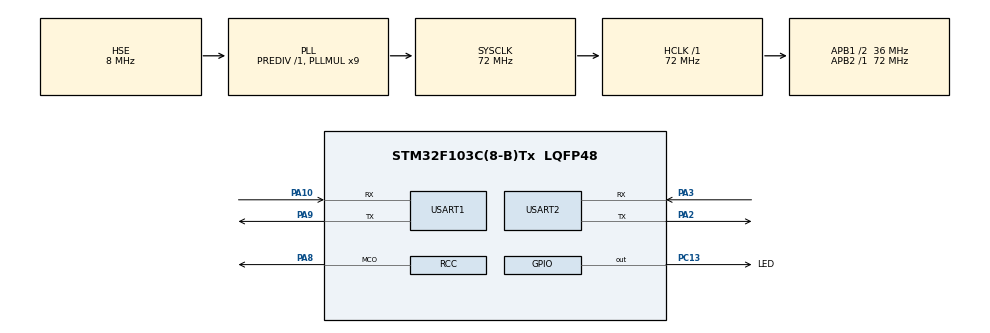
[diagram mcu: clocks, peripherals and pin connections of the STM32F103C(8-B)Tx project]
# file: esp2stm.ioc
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FREERTOS.Tasks01=defaultTask,24,128,StartDefaultTask,Default,NULL,Dynamic,NULL,NULL
FREERTOS.Timers01=myTimer01,Callback01,osTimerPeriodic,Default,NULL,Dynamic,NULL
FREERTOS.configTIMER_TASK_PRIORITY=24
FREERTOS.configUSE_NEWLIB_REENTRANT=1
Mcu.Family=STM32F1
Mcu.Name=STM32F103C(8-B)Tx
Mcu.Package=LQFP48
NVIC.PriorityGroup=NVIC_PRIORITYGROUP_4
NVIC.TIM1_UP_IRQn=true\:15\:0\:false\:false\:true\:false\:false\:true\:true
NVIC.TimeBase=TIM1_UP_IRQn
NVIC.TimeBaseIP=TIM1
NVIC.USART1_IRQn=true\:5\:0\:false\:false\:true\:true\:true\:true\:true
NVIC.USART2_IRQn=true\:5\:0\:false\:false\:true\:true\:true\:true\:true
PA10.Mode=Asynchronous
PA10.Signal=USART1_RX
PA13.Mode=Serial_Wire
PA13.Signal=SYS_JTMS-SWDIO
PA14.Mode=Serial_Wire
PA14.Signal=SYS_JTCK-SWCLK
PA2.Mode=Asynchronous
PA2.Signal=USART2_TX
PA3.Mode=Asynchronous
PA3.Signal=USART2_RX
PA8.Mode=Clock-out
PA8.Signal=RCC_MCO
PA9.Mode=Asynchronous
PA9.Signal=USART1_TX
PC13-TAMPER-RTC.GPIO_Label=LED
PC13-TAMPER-RTC.Signal=GPIO_Output
PC14-OSC32_IN.Mode=LSE-External-Oscillator
PC14-OSC32_IN.Signal=RCC_OSC32_IN
PC15-OSC32_OUT.Mode=LSE-External-Oscillator
PC15-OSC32_OUT.Signal=RCC_OSC32_OUT
PD0-OSC_IN.Mode=HSE-External-Oscillator
PD0-OSC_IN.Signal=RCC_OSC_IN
PD1-OSC_OUT.Mode=HSE-External-Oscillator
PD1-OSC_OUT.Signal=RCC_OSC_OUT
ProjectManager.HeapSize=0x200
ProjectManager.StackSize=0x400
ProjectManager.TargetToolchain=STM32CubeIDE
RCC.AHBFreq_Value=72000000
RCC.APB1CLKDivider=RCC_HCLK_DIV2
RCC.APB1Freq_Value=36000000
RCC.APB1TimFreq_Value=72000000
RCC.APB2Freq_Value=72000000
RCC.APB2TimFreq_Value=72000000
RCC.HCLKFreq_Value=72000000
RCC.PLLMUL=RCC_PLL_MUL9
RCC.PLLSourceVirtual=RCC_PLLSOURCE_HSE
RCC.RCC_MCOSource=RCC_MCO1SOURCE_PLLCLK
RCC.SYSCLKFreq_VALUE=72000000
RCC.SYSCLKSource=RCC_SYSCLKSOURCE_PLLCLK
RCC.USBFreq_Value=72000000
USART1.VirtualMode=VM_ASYNC
USART2.VirtualMode=VM_ASYNC
VP_FREERTOS_VS_CMSIS_V2.Mode=CMSIS_V2
VP_SYS_VS_tim1.Mode=TIM1
board=custom

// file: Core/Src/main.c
/* USER CODE BEGIN Header */
/**
  ******************************************************************************
  * @file           : main.c
  * @brief          : Main program body
  ******************************************************************************
  * @attention
  *
  * Copyright (c) 2023 STMicroelectronics.
  * All rights reserved.
  *
  * This software is licensed under terms that can be found in the LICENSE file
  * in the root directory of this software component.
  * If no LICENSE file comes with this software, it is provided AS-IS.
  *
  ******************************************************************************
  */
/* USER CODE END Header */
#include "main.h"
#include "cmsis_os.h"
#include "usart.h"
#include "gpio.h"

/* USER CODE BEGIN Includes */
#include <string.h>
#include <stdio.h>
#include <stdlib.h>
#include "retarget.h"
/* USER CODE END Includes */

/* USER CODE BEGIN PV */
unsigned char UART2_Rx_Buf[MAX_REC_LENGTH];
unsigned char UART2_Rx_flg ;
unsigned int  UART2_Rx_cnt ;
unsigned char UART2_temp[REC_LENGTH];
/* USER CODE END PV */

void SystemClock_Config(void);
void MX_FREERTOS_Init(void);

int main(void)
{

  /* MCU Configuration--------------------------------------------------------*/

  /* Reset of all peripherals, Initializes the Flash interface and the Systick. */
  HAL_Init();

  /* Configure the system clock */
  SystemClock_Config();

  /* Initialize all configured peripherals */
  MX_GPIO_Init();
  MX_USART1_UART_Init();
  MX_USART2_UART_Init();
  /* USER CODE BEGIN 2 */
  RetargetInit(&huart1);
  HAL_UART_Receive_IT(&huart2, (uint8_t *)UART2_temp, REC_LENGTH);//open the uart1 interrupt
   HAL_Delay(2000);
  /* USER CODE END 2 */

  /* Init scheduler */
  osKernelInitialize();  /* Call init function for freertos objects (in freertos.c) */
  MX_FREERTOS_Init();

  /* Start scheduler */
  osKernelStart();
  /* We should never get here as control is now taken by the scheduler */
  /* Infinite loop */
  while (1)
  {
  }

}

void SystemClock_Config(void)
{
  RCC_OscInitTypeDef RCC_OscInitStruct = {0};
  RCC_ClkInitTypeDef RCC_ClkInitStruct = {0};

  /** Initializes the RCC Oscillators according to the specified parameters
  * in the RCC_OscInitTypeDef structure.
  */
  RCC_OscInitStruct.OscillatorType = RCC_OSCILLATORTYPE_HSE;
  RCC_OscInitStruct.HSEState = RCC_HSE_ON;
  RCC_OscInitStruct.HSEPredivValue = RCC_HSE_PREDIV_DIV1;
  RCC_OscInitStruct.HSIState = RCC_HSI_ON;
  RCC_OscInitStruct.PLL.PLLState = RCC_PLL_ON;
  RCC_OscInitStruct.PLL.PLLSource = RCC_PLLSOURCE_HSE;
  RCC_OscInitStruct.PLL.PLLMUL = RCC_PLL_MUL9;
  if (HAL_RCC_OscConfig(&RCC_OscInitStruct) != HAL_OK)
  {
    Error_Handler();
  }

  /** Initializes the CPU, AHB and APB buses clocks
  */
  RCC_ClkInitStruct.ClockType = RCC_CLOCKTYPE_HCLK|RCC_CLOCKTYPE_SYSCLK
                              |RCC_CLOCKTYPE_PCLK1|RCC_CLOCKTYPE_PCLK2;
  RCC_ClkInitStruct.SYSCLKSource = RCC_SYSCLKSOURCE_PLLCLK;
  RCC_ClkInitStruct.AHBCLKDivider = RCC_SYSCLK_DIV1;
  RCC_ClkInitStruct.APB1CLKDivider = RCC_HCLK_DIV2;
  RCC_ClkInitStruct.APB2CLKDivider = RCC_HCLK_DIV1;

  if (HAL_RCC_ClockConfig(&RCC_ClkInitStruct, FLASH_LATENCY_2) != HAL_OK)
  {
    Error_Handler();
  }
  HAL_RCC_MCOConfig(RCC_MCO, RCC_MCO1SOURCE_PLLCLK, RCC_MCODIV_1);
}

/* USER CODE BEGIN 4 */
void HAL_UART_RxCpltCallback(UART_HandleTypeDef *huart)
{
	if(huart == &huart2 && UART2_Rx_flg == 0){
		UART2_Rx_Buf[UART2_Rx_cnt] = UART2_temp[0];
		UART2_Rx_cnt++;
		if('\n' == UART2_temp[0]){
			UART2_Rx_Buf[UART2_Rx_cnt-1] = '\0';
			printf("%s is received \r\n",UART2_Rx_Buf);
			UART2_Rx_flg = 1;
		}
		HAL_UART_Receive_IT(&huart2, (uint8_t *)UART2_temp, REC_LENGTH);
	}
}
/* USER CODE END 4 */

void HAL_TIM_PeriodElapsedCallback(TIM_HandleTypeDef *htim)
{
  if (htim->Instance == TIM1) {
    HAL_IncTick();
  }
}

void Error_Handler(void)
{
  __disable_irq();
  while (1)
  {
  }
}

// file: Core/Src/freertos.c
/* USER CODE BEGIN Header */
/**
  ******************************************************************************
  * File Name          : freertos.c
  * Description        : Code for freertos applications
  ******************************************************************************
  * @attention
  *
  * Copyright (c) 2023 STMicroelectronics.
  * All rights reserved.
  *
  * This software is licensed under terms that can be found in the LICENSE file
  * in the root directory of this software component.
  * If no LICENSE file comes with this software, it is provided AS-IS.
  *
  ******************************************************************************
  */
/* USER CODE END Header */

#include "FreeRTOS.h"
#include "task.h"
#include "main.h"
#include "cmsis_os.h"

/* USER CODE BEGIN Includes */
#include <stdio.h>
#include "retarget.h"
#include <string.h>
#include "timers.h"
/* USER CODE END Includes */

/* USER CODE BEGIN Variables */
  const char* Serial_ESP =  "Serial_ESP";
  const uint16_t Serial_usStackDepth = 128;
  const UBaseType_t Serial_uxPriority = osPriorityNormal1;

  extern unsigned char UART2_Rx_flg;
  extern unsigned char UART2_Rx_Buf[MAX_REC_LENGTH];
  extern unsigned int  UART2_Rx_cnt;

/* USER CODE END Variables */
/* Definitions for defaultTask */
osThreadId_t defaultTaskHandle;
const osThreadAttr_t defaultTask_attributes = {
  .name = "defaultTask",
  .stack_size = 128,
  .priority = (osPriority_t) osPriorityNormal,
};
/* Definitions for myTimer01 */
osTimerId_t myTimer01Handle;
const osTimerAttr_t myTimer01_attributes = {
  .name = "myTimer01"
};

/* USER CODE BEGIN FunctionPrototypes */
void StartSerialWithESP(void* argument);// 和ESP进行串口通信
void StartTxWithESP(void* argument);
void vTestTimerCallback( TimerHandle_t xTimer );

/* USER CODE END FunctionPrototypes */

void StartDefaultTask(void *argument);
void Callback01(void *argument);

void MX_FREERTOS_Init(void); /* (MISRA C 2004 rule 8.1) */

void MX_FREERTOS_Init(void) {

  /* Create the timer(s) */
  /* creation of myTimer01 */
  myTimer01Handle = osTimerNew(Callback01, osTimerPeriodic, NULL, &myTimer01_attributes);

  /* Create the thread(s) */
  /* creation of defaultTask */
  defaultTaskHandle = osThreadNew(StartDefaultTask, NULL, &defaultTask_attributes);

  /* USER CODE BEGIN RTOS_THREADS */
  /* add threads, ... */
  if(xTaskCreate(StartSerialWithESP,Serial_ESP,Serial_usStackDepth,NULL,Serial_uxPriority,NULL) != pdPASS) {
      uint8_t ch[] = "Fail to create SerialWithESP!!!\r\n";
      printf("%s",ch);
  } else {
    printf("Create SerialRxWithESP Success\r\n");
  }

  if(xTaskCreate(StartTxWithESP,"Serial_Tx",Serial_usStackDepth,NULL,Serial_uxPriority,NULL) != pdPASS) {
        uint8_t ch[] = "Fail to create SerialWithESP!!!\r\n";
        printf("%s",ch);
    } else {
      printf("Create SerialTxWithESP Success\r\n");
    }

//  TimerHandle_t xTimer = xTimerCreate("TESTITR",10000,pdTRUE,(void*)0,vTestTimerCallback);
//
//  if( xTimerStart(xTimer,0)!= pdPASS )
//  {
//    printf("Timer fail\r\n");
//  }

  /* USER CODE END RTOS_THREADS */

}

void StartDefaultTask(void *argument)
{
  /* USER CODE BEGIN StartDefaultTask */
  /* Infinite loop */
  int i=0;
  for(;;)
  {
	  i++;
	  printf("default hello, default%d .\r\n",i);
	  HAL_Delay(1000);
  }
  /* USER CODE END StartDefaultTask */
}

/* Callback01 function */
void Callback01(void *argument)
{
}

/* USER CODE BEGIN Application */

int ESP_getDHT_flg;
int ESP_sendDHT_flg;
void StartSerialWithESP(void* argument)
{
	printf("Entry Rx \r\n");
	for(;;)
	{
		if(UART2_Rx_flg == 1){
			printf("From ESP32 : %s \r\n",UART2_Rx_Buf);
			if(!strcmp(UART2_Rx_Buf,"get")){
				printf("get DHT11 DATA from server TODO\r\n");
        // ESP_getDHT_flg= 1;
			}
			else {
				printf("get DHT11: %s\r\n",UART2_Rx_Buf);
				ESP_sendDHT_flg = 1;
			}
			UART2_Rx_flg = 0;
			UART2_Rx_cnt = 0;
			memset(UART2_Rx_Buf,0x00,MAX_REC_LENGTH);
		}
	}
}
extern UART_HandleTypeDef huart2;
void StartTxWithESP(void* argument)
{
	printf("Entry Tx\r\n");
	for(;;){
		if(ESP_sendDHT_flg){
			HAL_Delay(2000);
			char msg[] = "getDHT11data";
			printf("TO ESP32: %s\r\n",msg);
			HAL_UART_Transmit_IT(&huart2,msg,sizeof(msg));
			ESP_getDHT_flg = 0;
		}
	}
}

void vTestTimerCallback( TimerHandle_t xTimer )
{
  int time=0;
  time++;
  printf("The Timer triger %d times\r\n",time);
}

/* USER CODE END Application */
